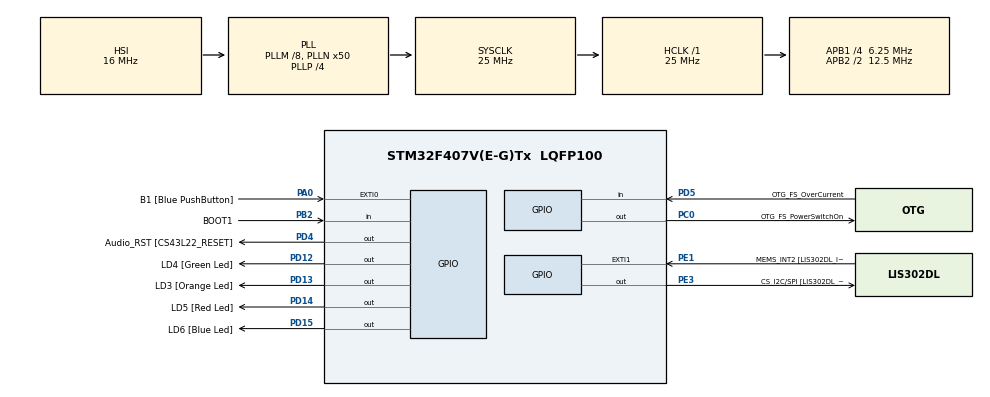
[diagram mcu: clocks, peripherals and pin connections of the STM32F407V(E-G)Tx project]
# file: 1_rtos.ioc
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Mcu.Family=STM32F4
Mcu.Name=STM32F407V(E-G)Tx
Mcu.Package=LQFP100
NVIC.PriorityGroup=NVIC_PRIORITYGROUP_4
NVIC.TIM6_DAC_IRQn=true\:0\:0\:false\:false\:true\:false\:true\:true
NVIC.TimeBase=TIM6_DAC_IRQn
NVIC.TimeBaseIP=TIM6
PA0-WKUP.GPIO_Label=B1 [Blue PushButton]
PA0-WKUP.Signal=GPXTI0
PA10.GPIO_Label=OTG_FS_ID
PA10.GPIO_Mode=GPIO_MODE_AF_PP
PA10.GPIO_PuPd=GPIO_NOPULL
PA10.GPIO_Speed=GPIO_SPEED_FREQ_LOW
PA10.Signal=USB_OTG_FS_ID
PA11.GPIO_Label=OTG_FS_DM
PA11.GPIO_Mode=GPIO_MODE_AF_PP
PA11.GPIO_PuPd=GPIO_NOPULL
PA11.GPIO_Speed=GPIO_SPEED_FREQ_LOW
PA11.Signal=USB_OTG_FS_DM
PA12.GPIO_Label=OTG_FS_DP
PA12.GPIO_Mode=GPIO_MODE_AF_PP
PA12.GPIO_PuPd=GPIO_NOPULL
PA12.GPIO_Speed=GPIO_SPEED_FREQ_LOW
PA12.Signal=USB_OTG_FS_DP
PA13.GPIO_Label=SWDIO
PA13.Signal=SYS_JTMS-SWDIO
PA14.GPIO_Label=SWCLK
PA14.Signal=SYS_JTCK-SWCLK
PA4.GPIO_Label=I2S3_WS [CS43L22_LRCK]
PA4.GPIO_Mode=GPIO_MODE_AF_PP
PA4.GPIO_PuPd=GPIO_NOPULL
PA4.GPIO_Speed=GPIO_SPEED_FREQ_LOW
PA4.Signal=I2S3_WS
PA5.GPIO_Label=SPI1_SCK [LIS302DL_SCL/SPC]
PA5.GPIO_Mode=GPIO_MODE_AF_PP
PA5.GPIO_PuPd=GPIO_NOPULL
PA5.GPIO_Speed=GPIO_SPEED_FREQ_LOW
PA5.Signal=SPI1_SCK
PA6.GPIO_Label=SPI1_MISO [LIS302DL_SDO]
PA6.GPIO_Mode=GPIO_MODE_AF_PP
PA6.GPIO_PuPd=GPIO_NOPULL
PA6.GPIO_Speed=GPIO_SPEED_FREQ_LOW
PA6.Signal=SPI1_MISO
PA7.GPIO_Label=SPI1_MOSI [LIS302DL_SDA/SDI/SDO]
PA7.GPIO_Mode=GPIO_MODE_AF_PP
PA7.GPIO_PuPd=GPIO_NOPULL
PA7.GPIO_Speed=GPIO_SPEED_FREQ_LOW
PA7.Signal=SPI1_MOSI
PA9.GPIO_Label=VBUS_FS
PA9.GPIO_Mode=GPIO_MODE_INPUT
PA9.GPIO_PuPd=GPIO_NOPULL
PA9.Signal=USB_OTG_FS_VBUS
PB10.GPIO_Label=CLK_IN [MP45DT02_CLK]
PB10.GPIO_Mode=GPIO_MODE_AF_PP
PB10.GPIO_PuPd=GPIO_NOPULL
PB10.GPIO_Speed=GPIO_SPEED_FREQ_LOW
PB10.Signal=I2S2_CK
PB2.GPIO_Label=BOOT1
PB2.GPIO_Mode=GPIO_MODE_INPUT
PB2.GPIO_PuPd=GPIO_NOPULL
PB2.Signal=GPIO_Input
PB3.GPIO_Label=SWO
PB3.Signal=SYS_JTDO-SWO
PB6.GPIO_Label=Audio_SCL [CS43L22_SCL]
PB6.GPIO_Mode=GPIO_MODE_AF_OD
PB6.GPIO_PuPd=GPIO_NOPULL
PB6.GPIO_Speed=GPIO_SPEED_FREQ_LOW
PB6.Signal=I2C1_SCL
PB9.GPIO_Label=Audio_SDA [CS43L22_SDA]
PB9.GPIO_Mode=GPIO_MODE_AF_OD
PB9.GPIO_PuPd=GPIO_NOPULL
PB9.GPIO_Speed=GPIO_SPEED_FREQ_LOW
PB9.Signal=I2C1_SDA
PC0.GPIO_Label=OTG_FS_PowerSwitchOn
PC0.GPIO_PuPd=GPIO_NOPULL
PC0.GPIO_Speed=GPIO_SPEED_FREQ_LOW
PC0.PinState=GPIO_PIN_SET
PC0.Signal=GPIO_Output
PC10.GPIO_Label=I2S3_SCK [CS43L22_SCLK]
PC10.GPIO_Mode=GPIO_MODE_AF_PP
PC10.GPIO_PuPd=GPIO_NOPULL
PC10.GPIO_Speed=GPIO_SPEED_FREQ_LOW
PC10.Signal=I2S3_CK
PC12.GPIO_Label=I2S3_SD [CS43L22_SDIN]
PC12.GPIO_Mode=GPIO_MODE_AF_PP
PC12.GPIO_PuPd=GPIO_NOPULL
PC12.GPIO_Speed=GPIO_SPEED_FREQ_LOW
PC12.Signal=I2S3_SD
PC14-OSC32_IN.GPIO_Label=PC14-OSC32_IN
PC14-OSC32_IN.Signal=RCC_OSC32_IN
PC15-OSC32_OUT.GPIO_Label=PC15-OSC32_OUT
PC15-OSC32_OUT.Signal=RCC_OSC32_OUT
PC3.GPIO_Label=PDM_OUT [MP45DT02_DOUT]
PC3.GPIO_Mode=GPIO_MODE_AF_PP
PC3.GPIO_PuPd=GPIO_NOPULL
PC3.GPIO_Speed=GPIO_SPEED_FREQ_LOW
PC3.Signal=I2S2_SD
PC7.GPIO_Label=I2S3_MCK [CS43L22_MCLK]
PC7.GPIO_Mode=GPIO_MODE_AF_PP
PC7.GPIO_PuPd=GPIO_NOPULL
PC7.GPIO_Speed=GPIO_SPEED_FREQ_LOW
PC7.Signal=I2S3_MCK
PD12.GPIO_Label=LD4 [Green Led]
PD12.GPIO_PuPd=GPIO_NOPULL
PD12.GPIO_Speed=GPIO_SPEED_FREQ_LOW
PD12.Signal=GPIO_Output
PD13.GPIO_Label=LD3 [Orange Led]
PD13.GPIO_PuPd=GPIO_NOPULL
PD13.GPIO_Speed=GPIO_SPEED_FREQ_LOW
PD13.Signal=GPIO_Output
PD14.GPIO_Label=LD5 [Red Led]
PD14.GPIO_PuPd=GPIO_NOPULL
PD14.GPIO_Speed=GPIO_SPEED_FREQ_LOW
PD14.Signal=GPIO_Output
PD15.GPIO_Label=LD6 [Blue Led]
PD15.GPIO_PuPd=GPIO_NOPULL
PD15.GPIO_Speed=GPIO_SPEED_FREQ_LOW
PD15.Signal=GPIO_Output
PD4.GPIO_Label=Audio_RST [CS43L22_RESET]
PD4.GPIO_PuPd=GPIO_NOPULL
PD4.GPIO_Speed=GPIO_SPEED_FREQ_LOW
PD4.Signal=GPIO_Output
PD5.GPIO_Label=OTG_FS_OverCurrent
PD5.GPIO_Mode=GPIO_MODE_INPUT
PD5.GPIO_PuPd=GPIO_NOPULL
PD5.Signal=GPIO_Input
PE1.GPIO_Label=MEMS_INT2 [LIS302DL_INT2]
PE1.GPIO_ModeDefaultEXTI=GPIO_MODE_EVT_RISING
PE1.GPIO_PuPd=GPIO_NOPULL
PE1.Signal=GPXTI1
PE3.GPIO_Label=CS_I2C/SPI [LIS302DL_CS_I2C/SPI]
PE3.GPIO_PuPd=GPIO_NOPULL
PE3.GPIO_Speed=GPIO_SPEED_FREQ_LOW
PE3.Signal=GPIO_Output
PH0-OSC_IN.GPIO_Label=PH0-OSC_IN
PH0-OSC_IN.Signal=RCC_OSC_IN
PH1-OSC_OUT.GPIO_Label=PH1-OSC_OUT
PH1-OSC_OUT.Signal=RCC_OSC_OUT
ProjectManager.HeapSize=0x200
ProjectManager.StackSize=0x400
ProjectManager.TargetToolchain=STM32CubeIDE
RCC.48MHZClocksFreq_Value=14285714.285714285
RCC.AHBFreq_Value=25000000
RCC.APB1CLKDivider=RCC_HCLK_DIV4
RCC.APB1Freq_Value=6250000
RCC.APB1TimFreq_Value=12500000
RCC.APB2CLKDivider=RCC_HCLK_DIV2
RCC.APB2Freq_Value=12500000
RCC.APB2TimFreq_Value=25000000
RCC.CortexFreq_Value=25000000
RCC.HCLKFreq_Value=25000000
RCC.HSE_VALUE=8000000
RCC.HSI_VALUE=16000000
RCC.LSE_VALUE=32768
RCC.PLLM=8
RCC.PLLN=50
RCC.PLLP=RCC_PLLP_DIV4
RCC.PLLQ=7
RCC.SYSCLKFreq_VALUE=25000000
RCC.SYSCLKSource=RCC_SYSCLKSOURCE_PLLCLK
RCC.VCOOutputFreq_Value=100000000
VP_SYS_VS_tim6.Mode=TIM6
board=STM32F407G-DISC1

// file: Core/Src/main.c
/* USER CODE BEGIN Header */
/**
  ******************************************************************************
  * @file           : main.c
  * @brief          : Main program body
  ******************************************************************************
  * @attention
  *
  * Copyright (c) 2024 STMicroelectronics.
  * All rights reserved.
  *
  * This software is licensed under terms that can be found in the LICENSE file
  * in the root directory of this software component.
  * If no LICENSE file comes with this software, it is provided AS-IS.
  *
  ******************************************************************************
  */
/* USER CODE END Header */
#include "main.h"

/* USER CODE BEGIN Includes */
#include <stdio.h>
#include "FreeRTOS.h"
#include "task.h"

/* USER CODE END Includes */

/* USER CODE BEGIN PV */

#define DWT_CTRL    (*(volatile uint32_t*)  0xE0001000)

/* USER CODE END PV */

void SystemClock_Config(void);
static void MX_GPIO_Init(void);
/* USER CODE BEGIN PFP */
static void task1_handler(void * parameters);
static void task2_handler(void * parameters);
/* USER CODE END PFP */

int main(void)
{
  /* USER CODE BEGIN 1 */
	 TaskHandle_t task1_handle;
	 TaskHandle_t task2_handle;// task hanldes are different from handler functions which are again different from refernece name

	 BaseType_t status1;
	 BaseType_t status2;

  /* USER CODE END 1 */

  /* MCU Configuration--------------------------------------------------------*/

  /* Reset of all peripherals, Initializes the Flash interface and the Systick. */
  HAL_Init();

  /* Configure the system clock */
  SystemClock_Config();

  /* Initialize all configured peripherals */
  MX_GPIO_Init();
  /* USER CODE BEGIN 2 */

  // enable the CYCCNT counter
  DWT_CTRL |=(1U<<0);

  SEGGER_SYSVIEW_Conf();

  SEGGER_SYSVIEW_Start();

  status1= xTaskCreate(task1_handler, "task1",200,"hello there ",2, &task1_handle);

  configASSERT(status1==pdPASS);// it will pass 1 when true

  status2= xTaskCreate(task2_handler, "task2",200,"what the hack ",2, &task2_handle);

  configASSERT(status2==pdPASS);// used for debugging

  //start the freeRTOS scheduler
   vTaskStartScheduler();

  //if the return comes here than the launch of scheduler has failed due to insufficient memory in the heap

  /* USER CODE END 2 */

  /* Infinite loop */
  while (1)
  {

  }
}

void SystemClock_Config(void)
{
  RCC_OscInitTypeDef RCC_OscInitStruct = {0};
  RCC_ClkInitTypeDef RCC_ClkInitStruct = {0};

  /** Configure the main internal regulator output voltage
  */
  __HAL_RCC_PWR_CLK_ENABLE();
  __HAL_PWR_VOLTAGESCALING_CONFIG(PWR_REGULATOR_VOLTAGE_SCALE1);

  /** Initializes the RCC Oscillators according to the specified parameters
  * in the RCC_OscInitTypeDef structure.
  */
  RCC_OscInitStruct.OscillatorType = RCC_OSCILLATORTYPE_HSI;
  RCC_OscInitStruct.HSIState = RCC_HSI_ON;
  RCC_OscInitStruct.HSICalibrationValue = RCC_HSICALIBRATION_DEFAULT;
  RCC_OscInitStruct.PLL.PLLState = RCC_PLL_ON;
  RCC_OscInitStruct.PLL.PLLSource = RCC_PLLSOURCE_HSI;
  RCC_OscInitStruct.PLL.PLLM = 8;
  RCC_OscInitStruct.PLL.PLLN = 50;
  RCC_OscInitStruct.PLL.PLLP = RCC_PLLP_DIV4;
  RCC_OscInitStruct.PLL.PLLQ = 7;
  if (HAL_RCC_OscConfig(&RCC_OscInitStruct) != HAL_OK)
  {
    Error_Handler();
  }

  /** Initializes the CPU, AHB and APB buses clocks
  */
  RCC_ClkInitStruct.ClockType = RCC_CLOCKTYPE_HCLK|RCC_CLOCKTYPE_SYSCLK
                              |RCC_CLOCKTYPE_PCLK1|RCC_CLOCKTYPE_PCLK2;
  RCC_ClkInitStruct.SYSCLKSource = RCC_SYSCLKSOURCE_PLLCLK;
  RCC_ClkInitStruct.AHBCLKDivider = RCC_SYSCLK_DIV1;
  RCC_ClkInitStruct.APB1CLKDivider = RCC_HCLK_DIV4;
  RCC_ClkInitStruct.APB2CLKDivider = RCC_HCLK_DIV2;

  if (HAL_RCC_ClockConfig(&RCC_ClkInitStruct, FLASH_LATENCY_0) != HAL_OK)
  {
    Error_Handler();
  }
}

static void MX_GPIO_Init(void)
{
  GPIO_InitTypeDef GPIO_InitStruct = {0};

  /* GPIO Ports Clock Enable */
  __HAL_RCC_GPIOE_CLK_ENABLE();
  __HAL_RCC_GPIOC_CLK_ENABLE();
  __HAL_RCC_GPIOH_CLK_ENABLE();
  __HAL_RCC_GPIOA_CLK_ENABLE();
  __HAL_RCC_GPIOB_CLK_ENABLE();
  __HAL_RCC_GPIOD_CLK_ENABLE();

  /*Configure GPIO pin Output Level */
  HAL_GPIO_WritePin(CS_I2C_SPI_GPIO_Port, CS_I2C_SPI_Pin, GPIO_PIN_RESET);

  /*Configure GPIO pin Output Level */
  HAL_GPIO_WritePin(OTG_FS_PowerSwitchOn_GPIO_Port, OTG_FS_PowerSwitchOn_Pin, GPIO_PIN_SET);

  /*Configure GPIO pin Output Level */
  HAL_GPIO_WritePin(GPIOD, LD4_Pin|LD3_Pin|LD5_Pin|LD6_Pin
                          |Audio_RST_Pin, GPIO_PIN_RESET);

  /*Configure GPIO pin : CS_I2C_SPI_Pin */
  GPIO_InitStruct.Pin = CS_I2C_SPI_Pin;
  GPIO_InitStruct.Mode = GPIO_MODE_OUTPUT_PP;
  GPIO_InitStruct.Pull = GPIO_NOPULL;
  GPIO_InitStruct.Speed = GPIO_SPEED_FREQ_LOW;
  HAL_GPIO_Init(CS_I2C_SPI_GPIO_Port, &GPIO_InitStruct);

  /*Configure GPIO pin : OTG_FS_PowerSwitchOn_Pin */
  GPIO_InitStruct.Pin = OTG_FS_PowerSwitchOn_Pin;
  GPIO_InitStruct.Mode = GPIO_MODE_OUTPUT_PP;
  GPIO_InitStruct.Pull = GPIO_NOPULL;
  GPIO_InitStruct.Speed = GPIO_SPEED_FREQ_LOW;
  HAL_GPIO_Init(OTG_FS_PowerSwitchOn_GPIO_Port, &GPIO_InitStruct);

  /*Configure GPIO pin : PDM_OUT_Pin */
  GPIO_InitStruct.Pin = PDM_OUT_Pin;
  GPIO_InitStruct.Mode = GPIO_MODE_AF_PP;
  GPIO_InitStruct.Pull = GPIO_NOPULL;
  GPIO_InitStruct.Speed = GPIO_SPEED_FREQ_LOW;
  GPIO_InitStruct.Alternate = GPIO_AF5_SPI2;
  HAL_GPIO_Init(PDM_OUT_GPIO_Port, &GPIO_InitStruct);

  /*Configure GPIO pin : B1_Pin */
  GPIO_InitStruct.Pin = B1_Pin;
  GPIO_InitStruct.Mode = GPIO_MODE_IT_RISING;
  GPIO_InitStruct.Pull = GPIO_NOPULL;
  HAL_GPIO_Init(B1_GPIO_Port, &GPIO_InitStruct);

  /*Configure GPIO pin : I2S3_WS_Pin */
  GPIO_InitStruct.Pin = I2S3_WS_Pin;
  GPIO_InitStruct.Mode = GPIO_MODE_AF_PP;
  GPIO_InitStruct.Pull = GPIO_NOPULL;
  GPIO_InitStruct.Speed = GPIO_SPEED_FREQ_LOW;
  GPIO_InitStruct.Alternate = GPIO_AF6_SPI3;
  HAL_GPIO_Init(I2S3_WS_GPIO_Port, &GPIO_InitStruct);

  /*Configure GPIO pins : SPI1_SCK_Pin SPI1_MISO_Pin SPI1_MOSI_Pin */
  GPIO_InitStruct.Pin = SPI1_SCK_Pin|SPI1_MISO_Pin|SPI1_MOSI_Pin;
  GPIO_InitStruct.Mode = GPIO_MODE_AF_PP;
  GPIO_InitStruct.Pull = GPIO_NOPULL;
  GPIO_InitStruct.Speed = GPIO_SPEED_FREQ_LOW;
  GPIO_InitStruct.Alternate = GPIO_AF5_SPI1;
  HAL_GPIO_Init(GPIOA, &GPIO_InitStruct);

  /*Configure GPIO pin : BOOT1_Pin */
  GPIO_InitStruct.Pin = BOOT1_Pin;
  GPIO_InitStruct.Mode = GPIO_MODE_INPUT;
  GPIO_InitStruct.Pull = GPIO_NOPULL;
  HAL_GPIO_Init(BOOT1_GPIO_Port, &GPIO_InitStruct);

  /*Configure GPIO pin : CLK_IN_Pin */
  GPIO_InitStruct.Pin = CLK_IN_Pin;
  GPIO_InitStruct.Mode = GPIO_MODE_AF_PP;
  GPIO_InitStruct.Pull = GPIO_NOPULL;
  GPIO_InitStruct.Speed = GPIO_SPEED_FREQ_LOW;
  GPIO_InitStruct.Alternate = GPIO_AF5_SPI2;
  HAL_GPIO_Init(CLK_IN_GPIO_Port, &GPIO_InitStruct);

  /*Configure GPIO pins : LD4_Pin LD3_Pin LD5_Pin LD6_Pin
                           Audio_RST_Pin */
  GPIO_InitStruct.Pin = LD4_Pin|LD3_Pin|LD5_Pin|LD6_Pin
                          |Audio_RST_Pin;
  GPIO_InitStruct.Mode = GPIO_MODE_OUTPUT_PP;
  GPIO_InitStruct.Pull = GPIO_NOPULL;
  GPIO_InitStruct.Speed = GPIO_SPEED_FREQ_LOW;
  HAL_GPIO_Init(GPIOD, &GPIO_InitStruct);

  /*Configure GPIO pins : I2S3_MCK_Pin I2S3_SCK_Pin I2S3_SD_Pin */
  GPIO_InitStruct.Pin = I2S3_MCK_Pin|I2S3_SCK_Pin|I2S3_SD_Pin;
  GPIO_InitStruct.Mode = GPIO_MODE_AF_PP;
  GPIO_InitStruct.Pull = GPIO_NOPULL;
  GPIO_InitStruct.Speed = GPIO_SPEED_FREQ_LOW;
  GPIO_InitStruct.Alternate = GPIO_AF6_SPI3;
  HAL_GPIO_Init(GPIOC, &GPIO_InitStruct);

  /*Configure GPIO pin : VBUS_FS_Pin */
  GPIO_InitStruct.Pin = VBUS_FS_Pin;
  GPIO_InitStruct.Mode = GPIO_MODE_INPUT;
  GPIO_InitStruct.Pull = GPIO_NOPULL;
  HAL_GPIO_Init(VBUS_FS_GPIO_Port, &GPIO_InitStruct);

  /*Configure GPIO pins : OTG_FS_ID_Pin OTG_FS_DM_Pin OTG_FS_DP_Pin */
  GPIO_InitStruct.Pin = OTG_FS_ID_Pin|OTG_FS_DM_Pin|OTG_FS_DP_Pin;
  GPIO_InitStruct.Mode = GPIO_MODE_AF_PP;
  GPIO_InitStruct.Pull = GPIO_NOPULL;
  GPIO_InitStruct.Speed = GPIO_SPEED_FREQ_LOW;
  GPIO_InitStruct.Alternate = GPIO_AF10_OTG_FS;
  HAL_GPIO_Init(GPIOA, &GPIO_InitStruct);

  /*Configure GPIO pin : OTG_FS_OverCurrent_Pin */
  GPIO_InitStruct.Pin = OTG_FS_OverCurrent_Pin;
  GPIO_InitStruct.Mode = GPIO_MODE_INPUT;
  GPIO_InitStruct.Pull = GPIO_NOPULL;
  HAL_GPIO_Init(OTG_FS_OverCurrent_GPIO_Port, &GPIO_InitStruct);

  /*Configure GPIO pins : Audio_SCL_Pin Audio_SDA_Pin */
  GPIO_InitStruct.Pin = Audio_SCL_Pin|Audio_SDA_Pin;
  GPIO_InitStruct.Mode = GPIO_MODE_AF_OD;
  GPIO_InitStruct.Pull = GPIO_NOPULL;
  GPIO_InitStruct.Speed = GPIO_SPEED_FREQ_LOW;
  GPIO_InitStruct.Alternate = GPIO_AF4_I2C1;
  HAL_GPIO_Init(GPIOB, &GPIO_InitStruct);

  /*Configure GPIO pin : MEMS_INT2_Pin */
  GPIO_InitStruct.Pin = MEMS_INT2_Pin;
  GPIO_InitStruct.Mode = GPIO_MODE_EVT_RISING;
  GPIO_InitStruct.Pull = GPIO_NOPULL;
  HAL_GPIO_Init(MEMS_INT2_GPIO_Port, &GPIO_InitStruct);

}

/* USER CODE BEGIN 4 */
static void task1_handler(void * parameters)
{
	char buff[100];
	while(1)
	{
		snprintf(buff,100,"%s\n",(char*)parameters);
		SEGGER_SYSVIEW_PrintfTarget(buff);
		// printf("%s\n",(char*)parameters); we used  snprintf()  in  place  of  printf()
		taskYIELD();
	}
}
static void task2_handler(void * parameters)
{
	char buff[100];
	while(1)
		{
		snprintf(buff,100,"%s\n",(char*)parameters);
		SEGGER_SYSVIEW_PrintfTarget(buff);
			//printf("%s\n",(char*)parameters);
		 taskYIELD();
		}
}

/* USER CODE END 4 */

void HAL_TIM_PeriodElapsedCallback(TIM_HandleTypeDef *htim)
{
  if (htim->Instance == TIM6) {
    HAL_IncTick();
  }
}

void Error_Handler(void)
{
  __disable_irq();
  while (1)
  {
  }
}
